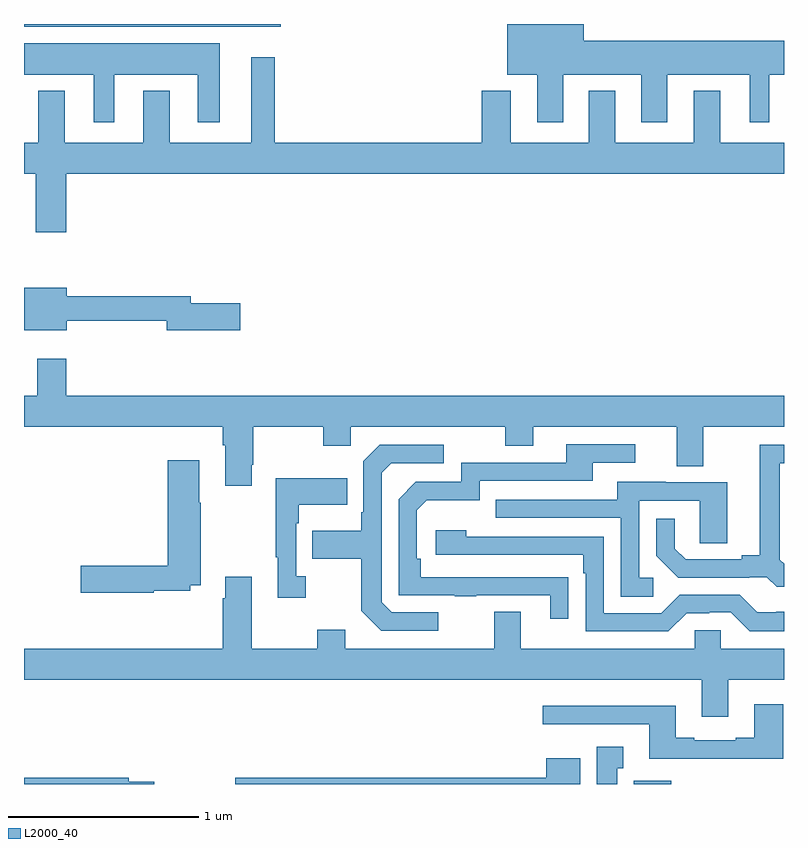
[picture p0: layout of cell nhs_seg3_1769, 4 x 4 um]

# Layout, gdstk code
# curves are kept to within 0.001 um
import gdstk
lib = gdstk.Library(unit=1e-6, precision=1e-09)
def R(c, l, rs):  # rectangles x0, y0, x1, y1
    for r in rs: c.add(gdstk.rectangle(r[:2], r[2:], *l))
def P(c, l, *ps):  # polygons
    for p in ps: c.add(gdstk.Polygon(p, *l))
L2000_40 = (2000, 40)

nhs_seg3_1769 = lib.new_cell('nhs_seg3_1769')
R(nhs_seg3_1769, L2000_40, [(206.21,668.4,206.407,668.416), (203,672.386,204.352,672.4)])
P(nhs_seg3_1769, L2000_40, [(205.837,672.134),(206.249,672.134),(206.249,671.883),(206.386,671.883),(206.386,672.134),(206.819,672.134),(206.819,671.883),(206.923,671.883),(206.923,672.134),(207,672.134),(207,672.313),(205.945,672.313),(205.945,672.4),(205.544,672.4),(205.544,672.134),(205.7,672.134),(205.7,671.883),(205.837,671.883)],
  [(203.476,672.134),(203.915,672.134),(203.915,671.883),(204.031,671.883),(204.031,672.298),(203,672.298),(203,672.134),(203.366,672.134),(203.366,671.883),(203.476,671.883)],
  [(203.222,671.612),(207,671.612),(207,671.776),(206.665,671.776),(206.665,672.049),(206.525,672.049),(206.525,671.776),(206.113,671.776),(206.113,672.049),(205.973,672.049),(205.973,671.776),(205.561,671.776),(205.561,672.049),(205.409,672.049),(205.409,671.776),(204.319,671.776),(204.319,672.226),(204.197,672.226),(204.197,671.776),(203.767,671.776),(203.767,672.049),(203.627,672.049),(203.627,671.776),(203.215,671.776),(203.215,672.049),(203.075,672.049),(203.075,671.776),(203,671.776),(203,671.612),(203.062,671.612),(203.062,671.304),(203.222,671.304)],
  [(203.224,670.839),(203.75,670.839),(203.75,670.789),(204.139,670.789),(204.139,670.931),(203.878,670.931),(203.878,670.967),(203.224,670.967),(203.224,671.011),(203,671.011),(203,670.787),(203.224,670.787)],
  [(204.199,670.081),(204.207,670.081),(204.207,670.28),(204.574,670.28),(204.574,670.181),(204.72,670.181),(204.72,670.28),(205.534,670.28),(205.534,670.181),(205.681,670.181),(205.681,670.28),(206.435,670.28),(206.435,670.072),(206.575,670.072),(206.575,670.28),(207,670.28),(207,670.444),(203.222,670.444),(203.222,670.639),(203.069,670.639),(203.069,670.444),(203,670.444),(203,670.28),(204.047,670.28),(204.047,670.184),(204.059,670.184),(204.059,669.969),(204.199,669.969)],
  [(205.865,669.488),(205.088,669.489),(205.088,669.586),(205.068,669.586),(205.068,669.84),(205.121,669.893),(205.398,669.893),(205.398,669.996),(205.993,669.996),(205.993,670.092),(206.218,670.092),(206.218,670.188),(205.853,670.188),(205.853,670.092),(205.302,670.092),(205.302,669.99),(205.062,669.99),(204.972,669.9),(204.972,669.393),(205.267,669.393),(205.267,669.388),(205.379,669.388),(205.379,669.393),(205.769,669.393),(205.769,669.27),(205.865,669.27)],
  [(207,669.558),(206.977,669.581),(206.977,670.089),(207,670.089),(207,670.185),(206.873,670.185),(206.873,669.605),(206.777,669.605),(206.777,669.582),(206.482,669.582),(206.425,669.639),(206.425,669.796),(206.328,669.796),(206.328,669.602),(206.444,669.486),(206.816,669.486),(206.816,669.489),(206.91,669.489),(206.962,669.437),(207,669.437)],
  [(205.18,669.303),(204.936,669.303),(204.882,669.357),(204.882,670.038),(204.933,670.089),(205.21,670.089),(205.21,670.185),(204.873,670.185),(204.786,670.098),(204.786,669.829),(204.774,669.829),(204.774,669.733),(204.517,669.733),(204.517,669.586),(204.774,669.586),(204.774,669.313),(204.879,669.207),(205.18,669.207)],
  [(203.682,669.418),(203.874,669.418),(203.874,669.446),(203.931,669.446),(203.931,669.881),(203.923,669.881),(203.923,670.105),(203.756,670.105),(203.756,669.548),(203.298,669.548),(203.298,669.406),(203.682,669.406)],
  [(204.484,669.494),(204.432,669.494),(204.432,669.773),(204.445,669.773),(204.445,669.869),(204.701,669.869),(204.701,670.009),(204.324,670.009),(204.324,669.593),(204.335,669.593),(204.335,669.381),(204.484,669.381)],
  [(206.311,669.486),(206.238,669.486),(206.238,669.891),(206.556,669.891),(206.556,669.667),(206.701,669.667),(206.701,669.987),(206.377,669.987),(206.377,669.991),(206.123,669.991),(206.123,669.897),(205.483,669.897),(205.483,669.801),(206.142,669.801),(206.142,669.385),(206.311,669.385)],
  [(207,669.307),(206.959,669.307),(206.959,669.303),(206.859,669.303),(206.766,669.396),(206.451,669.396),(206.355,669.3),(206.052,669.3),(206.052,669.702),(205.328,669.702),(205.328,669.736),(205.167,669.736),(205.167,669.606),(205.943,669.606),(205.943,669.509),(205.956,669.509),(205.956,669.204),(206.391,669.204),(206.487,669.3),(206.606,669.3),(206.606,669.303),(206.721,669.303),(206.821,669.203),(207,669.203)],
  [(206.707,668.948),(207,668.948),(207,669.112),(206.667,669.112),(206.667,669.21),(206.529,669.21),(206.529,669.112),(205.615,669.112),(205.615,669.307),(205.475,669.307),(205.475,669.112),(204.691,669.112),(204.691,669.211),(204.544,669.211),(204.544,669.112),(204.199,669.112),(204.199,669.49),(204.059,669.49),(204.059,669.377),(204.047,669.377),(204.047,669.112),(203,669.112),(203,668.948),(206.567,668.948),(206.567,668.754),(206.707,668.754)],
  [(206.996,668.821),(206.843,668.821),(206.843,668.644),(206.747,668.644),(206.747,668.631),(206.527,668.631),(206.527,668.644),(206.431,668.644),(206.431,668.812),(205.731,668.812),(205.731,668.715),(206.291,668.715),(206.291,668.534),(206.996,668.534)],
  [(206.122,668.483),(206.155,668.483),(206.155,668.596),(206.015,668.596),(206.015,668.4),(206.122,668.4)],
  [(205.927,668.536),(205.748,668.536),(205.748,668.432),(204.113,668.432),(204.113,668.4),(205.927,668.4)],
  [(203.686,668.412),(203.552,668.412),(203.552,668.432),(203,668.432),(203,668.4),(203.686,668.4)])

lib.write_gds('nhs_seg3_1769.gds')
